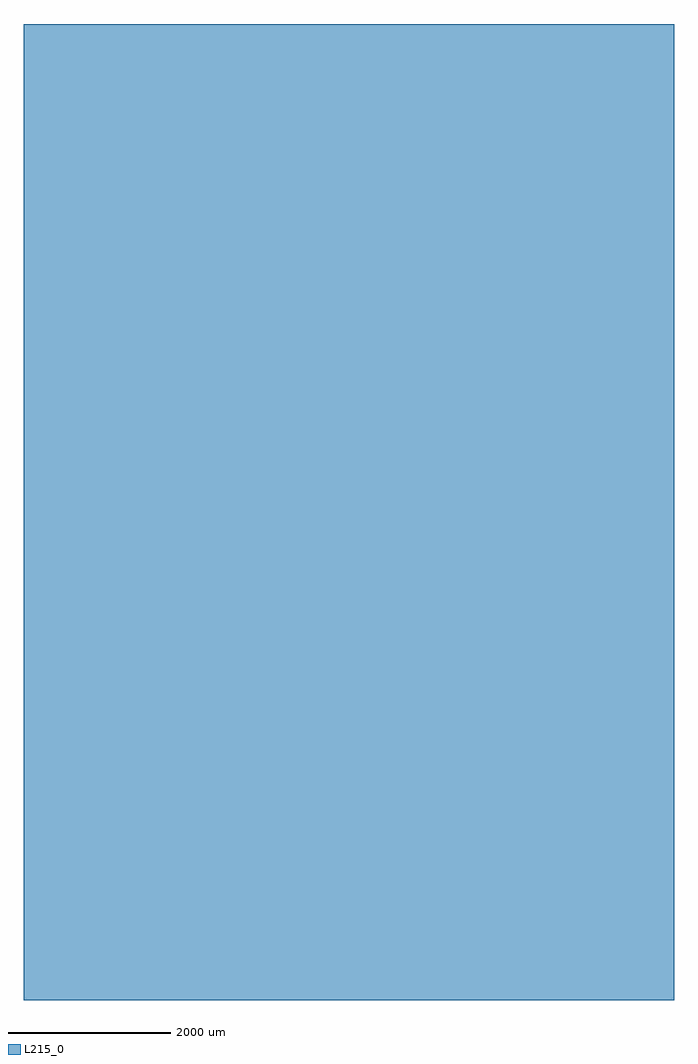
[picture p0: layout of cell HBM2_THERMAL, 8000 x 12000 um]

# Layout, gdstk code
import gdstk
lib = gdstk.Library(unit=1e-6, precision=1e-09)
def R(c, l, rs):  # rectangles x0, y0, x1, y1
    for r in rs: c.add(gdstk.rectangle(r[:2], r[2:], *l))
def A(c, l, x, y, w, h, nx, ny, dx, dy):  # array of equal rectangles
    R(c, l, [(x+i*dx, y+j*dy, x+i*dx+w, y+j*dy+h) for i in range(nx) for j in range(ny)])
L215_0 = (215, 0)

hbm2_thermal = lib.new_cell('HBM2_THERMAL')
A(hbm2_thermal, L215_0, 0, 0, 250, 750, 32, 16, 250, 750)

lib.write_gds('HBM2_THERMAL.gds')
